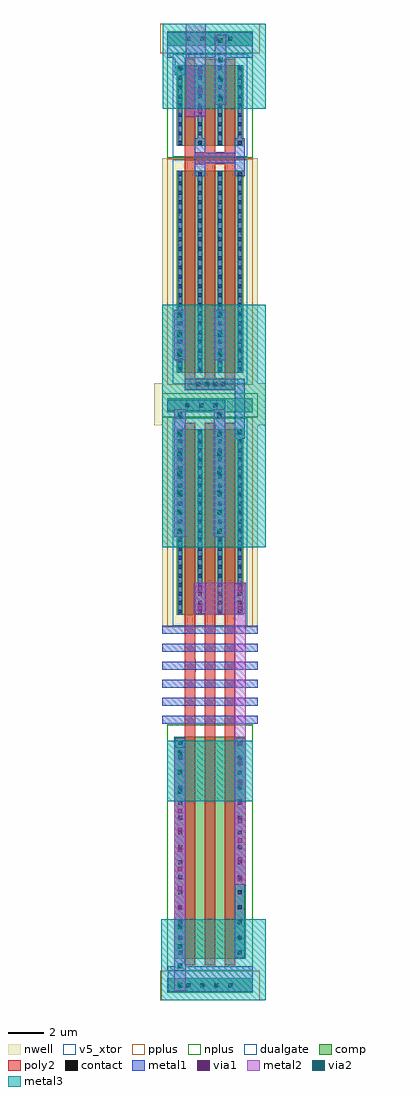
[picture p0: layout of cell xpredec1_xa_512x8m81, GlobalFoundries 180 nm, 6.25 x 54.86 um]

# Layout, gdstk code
import gdstk
lib = gdstk.Library(unit=1e-6, precision=1e-09)
def R(c, l, rs):  # rectangles x0, y0, x1, y1
    for r in rs: c.add(gdstk.rectangle(r[:2], r[2:], *l))
def A(c, l, x, y, w, h, nx, ny, dx, dy):  # array of equal rectangles
    R(c, l, [(x+i*dx, y+j*dy, x+i*dx+w, y+j*dy+h) for i in range(nx) for j in range(ny)])
def P(c, l, *ps):  # polygons
    for p in ps: c.add(gdstk.Polygon(p, *l))
nwell = (21, 0)
comp = (22, 0)
poly2 = (30, 0)
pplus = (31, 0)
nplus = (32, 0)
contact = (33, 0)
metal1 = (34, 0)
via1 = (35, 0)
metal2 = (36, 0)
via2 = (38, 0)
metal3 = (42, 0)
dualgate = (55, 0)
v5_xtor = (112, 1)

nmos_5p04310591302057_51 = lib.new_cell('nmos_5p04310591302057_512x8m81')
R(nmos_5p04310591302057_51, comp, [(-0.44,0,1.04,4.54), (-0.44,0,-0.08,4.54), (0.68,0,1.04,4.54)])
R(nmos_5p04310591302057_51, poly2, [(0,-0.22,0.6,4.76), (0,4.54,0.6,4.76)])
R(nmos_5p04310591302057_51, nplus, [(-0.6,-0.23,1.2,4.77)])
A(nmos_5p04310591302057_51, contact, -0.37, 0.07, 0.22, 0.22, 1, 5, 0, 0.525)
A(nmos_5p04310591302057_51, contact, 0.75, 0.07, 0.22, 0.22, 1, 5, 0, 0.525)
A(nmos_5p04310591302057_51, contact, -0.37, 2.69, 0.22, 0.22, 1, 4, 0, 0.52)
A(nmos_5p04310591302057_51, contact, 0.75, 2.69, 0.22, 0.22, 1, 4, 0, 0.52)
R(nmos_5p04310591302057_51, metal1, [(-0.375,0,-0.145,4.54), (-0.375,0,-0.145,4.54), (0.745,0,0.975,4.54), (0.745,0,0.975,4.54)])
R(nmos_5p04310591302057_51, dualgate, [(-0.68,-0.62,1.28,5.16)])
R(nmos_5p04310591302057_51, v5_xtor, [(-0.68,-0.62,1.28,5.16)])
nmos_5p04310591302057_51.add(gdstk.Label('S', (-0.26,2.27), layer=34, texttype=0))
nmos_5p04310591302057_51.add(gdstk.Label('D', (0.86,2.27), layer=34, texttype=0))

nmos_1p2__47514668_512x8 = lib.new_cell('nmos_1p2$$47514668_512x8m81')
R(nmos_1p2__47514668_512x8, poly2, [(-0.15,-0.365,0.44,0), (-0.15,4.535,0.44,4.9)])
R(nmos_1p2__47514668_512x8, nplus, [(-1.145,-0.68,1.43,5.215)])
nmos_1p2__47514668_512x8.add(gdstk.Reference(nmos_5p04310591302057_51, (-0.155,0)))

m3_m2__47333420_512x8m81 = lib.new_cell('M3_M2$$47333420_512x8m81')
R(m3_m2__47333420_512x8m81, metal2, [(-0.32,-1.965,0.32,1.96)])
A(m3_m2__47333420_512x8m81, via2, -0.13, -1.765, 0.26, 0.26, 1, 4, 0, 1.09)
R(m3_m2__47333420_512x8m81, metal3, [(-0.325,-1.965,0.325,1.965)])

m2_m1__43379756_512x8m81 = lib.new_cell('M2_M1$$43379756_512x8m81')
R(m2_m1__43379756_512x8m81, metal1, [(-0.32,-1.965,0.32,1.965)])
A(m2_m1__43379756_512x8m81, via1, -0.13, -1.765, 0.26, 0.26, 1, 4, 0, 1.09)
R(m2_m1__43379756_512x8m81, metal2, [(-0.32,-1.965,0.32,1.96)])

m2_m1__43375660_512x8m81 = lib.new_cell('M2_M1$$43375660_512x8m81')
R(m2_m1__43375660_512x8m81, metal1, [(-0.31,-0.875,0.31,0.875)])
R(m2_m1__43375660_512x8m81, via1, [(-0.13,-0.675,0.13,-0.415), (-0.13,0.415,0.13,0.675)])
R(m2_m1__43375660_512x8m81, metal2, [(-0.31,-0.875,0.31,0.875)])

m3_m2__47332396_512x8m81 = lib.new_cell('M3_M2$$47332396_512x8m81')
R(m3_m2__47332396_512x8m81, metal2, [(-0.32,-3.595,0.32,3.59)])
A(m3_m2__47332396_512x8m81, via2, -0.13, -1.22, 0.26, 0.26, 1, 3, 0, 1.09)
R(m3_m2__47332396_512x8m81, via2, [(-0.13,-3.395,0.13,-3.135), (-0.13,-2.305,0.13,-2.045), (-0.13,2.045,0.13,2.305), (-0.13,3.135,0.13,3.395)])
R(m3_m2__47332396_512x8m81, metal3, [(-0.325,-3.6,0.325,3.6)])

m2_m1__47515692_512x8m81 = lib.new_cell('M2_M1$$47515692_512x8m81')
P(m2_m1__47515692_512x8m81, metal1, [(-0.255,-3.6),(-0.255,-3.595),(-0.32,-3.595),(-0.32,3.595),(-0.285,3.595),(-0.285,3.6),(0.285,3.6),(0.285,3.595),(0.305,3.595),(0.305,3.59),(0.32,3.59),(0.32,-3.6)])
A(m2_m1__47515692_512x8m81, via1, -0.13, -1.22, 0.26, 0.26, 1, 3, 0, 1.09)
R(m2_m1__47515692_512x8m81, via1, [(-0.13,-3.395,0.13,-3.135), (-0.13,-2.305,0.13,-2.045), (-0.13,2.045,0.13,2.305), (-0.13,3.135,0.13,3.395)])
R(m2_m1__47515692_512x8m81, metal2, [(-0.32,-3.595,0.32,3.59)])

m3_m2__47108140_512x8m81 = lib.new_cell('M3_M2$$47108140_512x8m81')
R(m3_m2__47108140_512x8m81, metal2, [(-0.32,-1.42,0.32,1.415)])
A(m3_m2__47108140_512x8m81, via2, -0.13, -1.22, 0.26, 0.26, 1, 3, 0, 1.09)
R(m3_m2__47108140_512x8m81, metal3, [(-0.325,-1.42,0.325,1.42)])

m2_m1__43380780_512x8m81 = lib.new_cell('M2_M1$$43380780_512x8m81')
R(m2_m1__43380780_512x8m81, metal1, [(-0.32,-1.42,0.32,1.415)])
A(m2_m1__43380780_512x8m81, via1, -0.13, -1.22, 0.26, 0.26, 1, 3, 0, 1.09)
R(m2_m1__43380780_512x8m81, metal2, [(-0.32,-1.42,0.32,1.415)])

m2_m1__43376684_512x8m81 = lib.new_cell('M2_M1$$43376684_512x8m81')
R(m2_m1__43376684_512x8m81, metal1, [(-0.315,-4.14,0.32,4.14)])
A(m2_m1__43376684_512x8m81, via1, -0.13, -1.765, 0.26, 0.26, 1, 4, 0, 1.09)
R(m2_m1__43376684_512x8m81, via1, [(-0.13,-3.94,0.13,-3.68), (-0.13,-2.85,0.13,-2.59), (-0.13,2.59,0.13,2.85), (-0.13,3.68,0.13,3.94)])
R(m2_m1__43376684_512x8m81, metal2, [(-0.315,-4.14,0.32,4.14)])

pmos_5p04310591302068_51 = lib.new_cell('pmos_5p04310591302068_512x8m81')
R(pmos_5p04310591302068_51, nwell, [(-1.04,-0.6,1.64,11.94)])
R(pmos_5p04310591302068_51, comp, [(-0.44,0,1.04,11.34), (-0.44,0,-0.08,11.34), (0.68,0,1.04,11.34)])
R(pmos_5p04310591302068_51, poly2, [(0,-0.22,0.6,11.56)])
R(pmos_5p04310591302068_51, pplus, [(-0.6,-0.23,1.2,11.57)])
A(pmos_5p04310591302068_51, contact, -0.37, 0.07, 0.22, 0.22, 1, 13, 0, 0.525)
A(pmos_5p04310591302068_51, contact, 0.75, 0.07, 0.22, 0.22, 1, 13, 0, 0.525)
A(pmos_5p04310591302068_51, contact, -0.37, 6.89, 0.22, 0.22, 1, 9, 0, 0.52)
A(pmos_5p04310591302068_51, contact, 0.75, 6.89, 0.22, 0.22, 1, 9, 0, 0.52)
R(pmos_5p04310591302068_51, metal1, [(-0.375,0,-0.145,11.34), (-0.375,0,-0.145,11.34), (0.745,0,0.975,11.34), (0.745,0,0.975,11.34)])
R(pmos_5p04310591302068_51, dualgate, [(-0.68,-0.62,1.28,11.96)])
R(pmos_5p04310591302068_51, v5_xtor, [(-0.68,-0.62,1.28,11.96)])
pmos_5p04310591302068_51.add(gdstk.Label('S', (-0.26,5.67), layer=34, texttype=0))
pmos_5p04310591302068_51.add(gdstk.Label('D', (0.86,5.67), layer=34, texttype=0))

pmos_1p2__47513644_512x8 = lib.new_cell('pmos_1p2$$47513644_512x8m81')
R(pmos_1p2__47513644_512x8, nwell, [(-1.43,-0.705,1.72,12.045)])
R(pmos_1p2__47513644_512x8, poly2, [(-0.15,-0.37,0.44,0), (-0.155,11.34,0.445,11.65)])
R(pmos_1p2__47513644_512x8, pplus, [(-1.145,-0.68,1.43,12.02)])
pmos_1p2__47513644_512x8.add(gdstk.Reference(pmos_5p04310591302068_51, (-0.155,0)))

m1_poly24310591302060_51 = lib.new_cell('M1_POLY24310591302060_512x8m81')
R(m1_poly24310591302060_51, poly2, [(-0.915,-0.21,0.915,0.21)])
A(m1_poly24310591302060_51, contact, -0.815, -0.11, 0.22, 0.22, 4, 1, 0.47, 0)
R(m1_poly24310591302060_51, metal1, [(-0.875,-0.17,0.875,0.17)])

m2_m1__47327276_512x8m81 = lib.new_cell('M2_M1$$47327276_512x8m81')
P(m2_m1__47327276_512x8m81, metal1, [(-0.325,-6.865),(-0.325,-5.455),(-0.32,-5.455),(-0.32,6.855),(-0.29,6.855),(-0.29,6.865),(0.285,6.865),(0.285,6.855),(0.32,6.855),(0.32,-5.455),(0.325,-5.455),(0.325,-6.865)])
A(m2_m1__47327276_512x8m81, via1, -0.13, -4.485, 0.26, 0.26, 1, 3, 0, 1.09)
A(m2_m1__47327276_512x8m81, via1, -0.13, -1.22, 0.26, 0.26, 1, 3, 0, 1.09)
A(m2_m1__47327276_512x8m81, via1, -0.13, 2.045, 0.26, 0.26, 1, 3, 0, 1.09)
R(m2_m1__47327276_512x8m81, via1, [(-0.13,-6.66,0.13,-6.4), (-0.13,-5.57,0.13,-5.31), (-0.13,5.31,0.13,5.57), (-0.13,6.4,0.13,6.66)])
R(m2_m1__47327276_512x8m81, metal2, [(-0.32,-6.865,0.32,6.855)])

pmos_5p04310591302072_51 = lib.new_cell('pmos_5p04310591302072_512x8m81')
R(pmos_5p04310591302072_51, nwell, [(-1.04,-0.6,1.64,11.03)])
R(pmos_5p04310591302072_51, comp, [(-0.44,0,1.04,10.43), (-0.44,0,-0.08,10.43), (0.68,0,1.04,10.43)])
R(pmos_5p04310591302072_51, poly2, [(0,-0.22,0.6,10.65), (0,10.43,0.6,10.65)])
R(pmos_5p04310591302072_51, pplus, [(-0.6,-0.23,1.2,10.66)])
A(pmos_5p04310591302072_51, contact, -0.37, 0.07, 0.22, 0.22, 1, 15, 0, 0.505)
A(pmos_5p04310591302072_51, contact, 0.75, 0.07, 0.22, 0.22, 1, 15, 0, 0.505)
A(pmos_5p04310591302072_51, contact, -0.37, 7.64, 0.22, 0.22, 1, 6, 0, 0.5)
A(pmos_5p04310591302072_51, contact, 0.75, 7.64, 0.22, 0.22, 1, 6, 0, 0.5)
R(pmos_5p04310591302072_51, metal1, [(-0.375,0,-0.145,10.43), (-0.375,0,-0.145,10.43), (0.745,0,0.975,10.43), (0.745,0,0.975,10.43)])
R(pmos_5p04310591302072_51, dualgate, [(-0.68,-0.62,1.28,11.05)])
R(pmos_5p04310591302072_51, v5_xtor, [(-0.68,-0.62,1.28,11.05)])
pmos_5p04310591302072_51.add(gdstk.Label('S', (-0.26,5.215), layer=34, texttype=0))
pmos_5p04310591302072_51.add(gdstk.Label('D', (0.86,5.215), layer=34, texttype=0))

pmos_1p2__47512620_512x8 = lib.new_cell('pmos_1p2$$47512620_512x8m81')
R(pmos_1p2__47512620_512x8, nwell, [(-1.43,-0.71,1.72,11.135)])
R(pmos_1p2__47512620_512x8, poly2, [(-0.15,-0.37,0.44,-0.005), (-0.15,10.43,0.44,10.795)])
R(pmos_1p2__47512620_512x8, pplus, [(-1.145,-0.685,1.43,11.11)])
pmos_1p2__47512620_512x8.add(gdstk.Reference(pmos_5p04310591302072_51, (-0.155,0)))

xpredec1_xa_512x8m81 = lib.new_cell('xpredec1_xa_512x8m81')
R(xpredec1_xa_512x8m81, nwell, [(-0.72,-20.93,5.53,-18.56)])
R(xpredec1_xa_512x8m81, comp, [(-0.005,-52.815,4.815,-51.995), (0.39,-50.91,4.415,-38.435), (-0.005,-20.195,4.815,-19.395), (-0.005,0.405,4.815,1.225)])
R(xpredec1_xa_512x8m81, poly2, [(2.105,-51.275,2.705,-31.765), (3.225,-51.275,3.825,-31.765)])
P(xpredec1_xa_512x8m81, poly2, [(0.985,-18.955),(0.985,-18.135),(1.585,-18.135),(1.585,-18.27),(2.105,-18.27),(2.105,-18.17),(2.705,-18.17),(2.705,-18.27),(3.225,-18.27),(3.225,-18.17),(3.825,-18.17),(3.825,-18.955)],
  [(0.985,-51.275),(0.985,-31.765),(1.585,-31.765),(1.585,-34.1),(1.59,-34.1),(1.59,-34.785),(1.585,-34.785),(1.585,-51.275)],
  [(0.985,-6.555),(0.985,-5.37),(1.585,-5.37),(1.585,-5.575),(2.105,-5.575),(2.105,-5.37),(2.705,-5.37),(2.705,-5.575),(3.225,-5.575),(3.225,-5.37),(3.825,-5.37),(3.825,-6.555),(3.225,-6.555),(3.225,-6.26),(2.705,-6.26),(2.705,-6.555),(2.105,-6.555),(2.105,-6.26),(1.585,-6.26),(1.585,-6.555)])
R(xpredec1_xa_512x8m81, pplus, [(-0.4,-53.225,5.21,-51.585), (-0.4,-0.005,5.21,1.635)])
R(xpredec1_xa_512x8m81, nplus, [(-0.005,-51.59,4.815,-37.755), (-0.27,-20.465,5.08,-19.12)])
A(xpredec1_xa_512x8m81, contact, 1.065, -52.515, 0.22, 0.22, 4, 2, 0.79, 53.22)
A(xpredec1_xa_512x8m81, contact, 0.615, -50.675, 0.22, 0.22, 1, 5, 0, 0.85)
A(xpredec1_xa_512x8m81, contact, 3.975, -50.675, 0.22, 0.22, 1, 5, 0, 0.85)
A(xpredec1_xa_512x8m81, contact, 0.615, -46.44, 0.22, 0.22, 1, 5, 0, 0.84)
A(xpredec1_xa_512x8m81, contact, 3.975, -46.44, 0.22, 0.22, 1, 5, 0, 0.84)
A(xpredec1_xa_512x8m81, contact, 0.615, -42.245, 0.22, 0.22, 1, 4, 0, 0.84)
A(xpredec1_xa_512x8m81, contact, 3.975, -42.245, 0.22, 0.22, 1, 4, 0, 0.84)
A(xpredec1_xa_512x8m81, contact, 1.01, -19.9, 0.22, 0.22, 3, 1, 0.79, 0)
R(xpredec1_xa_512x8m81, contact, [(0.615,-38.89,0.835,-38.67), (3.975,-38.89,4.195,-38.67)])
A(xpredec1_xa_512x8m81, metal1, -0.29, -37.695, 5.39, 0.46, 1, 3, 0, 1.01)
R(xpredec1_xa_512x8m81, metal1, [(-0.29,-34.665,5.1,-34.21), (-0.29,-33.66,5.1,-33.2), (-0.29,-32.65,5.1,-32.19)])
P(xpredec1_xa_512x8m81, metal1, [(1.555,-6.92),(1.555,-4.8),(2.13,-4.8),(2.13,-5.6),(3.795,-5.6),(3.795,-4.8),(4.37,-4.8),(4.37,-6.92),(3.795,-6.92),(3.795,-6.195),(2.135,-6.195),(2.135,-6.2),(2.13,-6.2),(2.13,-6.92)],
  [(3.795,-21.665),(3.795,-18.91),(0.995,-18.91),(0.995,-18.315),(4.37,-18.315),(4.37,-21.665)],
  [(2.675,-21.61),(2.675,-20.09),(1.015,-20.09),(1.015,-21.6),(0.435,-21.6),(0.435,-20.09),(-0.005,-20.09),(-0.005,-19.495),(3.25,-19.495),(3.25,-20.03),(3.255,-20.03),(3.255,-21.61)],
  [(3.795,-50.865),(3.795,-38.48),(4.375,-38.48),(4.375,-46.765),(4.37,-46.765),(4.37,-50.865)],
  [(0.04,-52.77),(0.04,-51.315),(0.405,-51.315),(0.405,-51.31),(0.435,-51.31),(0.435,-38.48),(1.01,-38.48),(1.01,-39.005),(1.015,-39.005),(1.015,-51.31),(1.045,-51.31),(1.045,-51.315),(4.815,-51.315),(4.815,-52.77)],
  [(0.435,-1.25),(0.435,-0.275),(-0.005,-0.275),(-0.005,1.18),(4.815,1.18),(4.815,-0.275),(3.255,-0.275),(3.255,-1.25),(2.675,-1.25),(2.675,-0.275),(1.015,-0.275),(1.015,-0.28),(1.01,-0.28),(1.01,-1.25)])
R(xpredec1_xa_512x8m81, metal2, [(1.05,-3.565,2.155,1.635)])
P(xpredec1_xa_512x8m81, metal2, [(3.765,-39.94),(3.765,-31.53),(1.525,-31.53),(1.525,-29.775),(4.405,-29.775),(4.405,-39.94)])
R(xpredec1_xa_512x8m81, metal3, [(-0.335,-53.225,5.53,-48.685), (-0.005,-42.045,4.815,-38.64), (-0.29,-27.765,5.53,-14.155), (-0.26,-3.12,5.53,1.635)])
xpredec1_xa_512x8m81.add(gdstk.Reference(nmos_1p2__47514668_512x8, (3.38,-0.68), x_reflection=True))
xpredec1_xa_512x8m81.add(gdstk.Reference(nmos_1p2__47514668_512x8, (2.26,-0.68), x_reflection=True))
xpredec1_xa_512x8m81.add(gdstk.Reference(nmos_1p2__47514668_512x8, (1.14,-0.68), x_reflection=True))
xpredec1_xa_512x8m81.add(gdstk.Reference(m3_m2__47333420_512x8m81, (3,-0.93)))
xpredec1_xa_512x8m81.add(gdstk.Reference(m3_m2__47333420_512x8m81, (0.725,-50.76)))
xpredec1_xa_512x8m81.add(gdstk.Reference(m2_m1__43379756_512x8m81, (3,-0.93)))
xpredec1_xa_512x8m81.add(gdstk.Reference(m2_m1__43375660_512x8m81, (1.845,-30.65)))
xpredec1_xa_512x8m81.add(gdstk.Reference(m2_m1__43375660_512x8m81, (4.085,-30.65)))
xpredec1_xa_512x8m81.add(gdstk.Reference(m3_m2__47332396_512x8m81, (2.945,-23.62)))
xpredec1_xa_512x8m81.add(gdstk.Reference(m3_m2__47332396_512x8m81, (0.725,-23.62)))
xpredec1_xa_512x8m81.add(gdstk.Reference(m2_m1__47515692_512x8m81, (2.945,-23.62)))
xpredec1_xa_512x8m81.add(gdstk.Reference(m2_m1__47515692_512x8m81, (0.725,-23.62)))
xpredec1_xa_512x8m81.add(gdstk.Reference(m3_m2__47108140_512x8m81, (0.725,-40.42)))
xpredec1_xa_512x8m81.add(gdstk.Reference(m3_m2__47108140_512x8m81, (2.965,-15.845)))
xpredec1_xa_512x8m81.add(gdstk.Reference(m3_m2__47108140_512x8m81, (0.725,-15.845)))
xpredec1_xa_512x8m81.add(gdstk.Reference(m2_m1__43380780_512x8m81, (1.835,-2.14)))
xpredec1_xa_512x8m81.add(gdstk.Reference(m2_m1__43380780_512x8m81, (2.965,-15.845)))
xpredec1_xa_512x8m81.add(gdstk.Reference(m2_m1__43380780_512x8m81, (0.725,-15.845)))
xpredec1_xa_512x8m81.add(gdstk.Reference(m2_m1__43376684_512x8m81, (4.085,-42.62)))
xpredec1_xa_512x8m81.add(gdstk.Reference(pmos_1p2__47513644_512x8, (1.14,-6.62), x_reflection=True))
xpredec1_xa_512x8m81.add(gdstk.Reference(pmos_1p2__47513644_512x8, (3.38,-6.62), x_reflection=True))
xpredec1_xa_512x8m81.add(gdstk.Reference(pmos_1p2__47513644_512x8, (2.26,-6.62), x_reflection=True))
xpredec1_xa_512x8m81.add(gdstk.Reference(m1_poly24310591302060_51, (2.455,-18.605)))
xpredec1_xa_512x8m81.add(gdstk.Reference(m2_m1__47327276_512x8m81, (0.725,-45.86)))
xpredec1_xa_512x8m81.add(gdstk.Reference(pmos_1p2__47512620_512x8, (1.14,-31.57)))
xpredec1_xa_512x8m81.add(gdstk.Reference(pmos_1p2__47512620_512x8, (2.26,-31.57)))
xpredec1_xa_512x8m81.add(gdstk.Reference(pmos_1p2__47512620_512x8, (3.38,-31.57)))

lib.write_gds('xpredec1_xa_512x8m81.gds')
